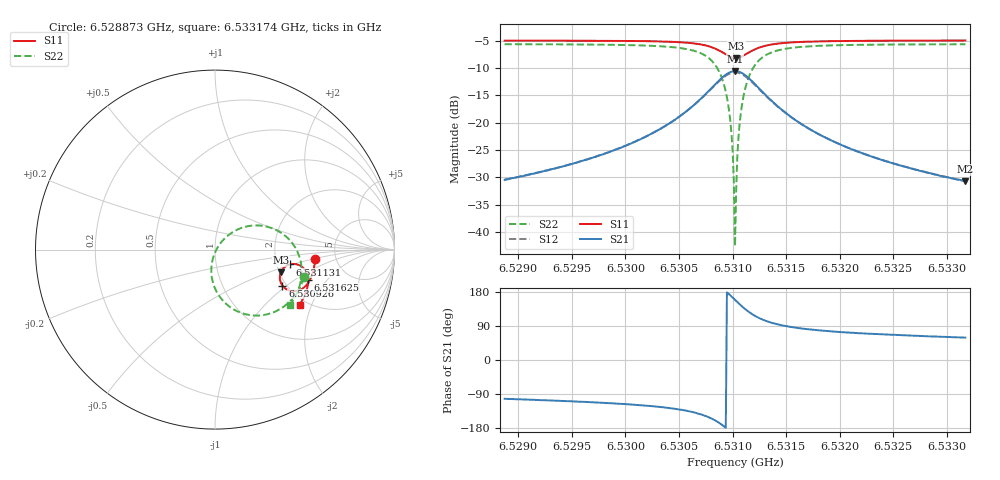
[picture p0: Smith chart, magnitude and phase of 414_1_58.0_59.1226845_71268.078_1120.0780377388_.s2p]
#  HZ  S  RI  R  50.00
! Rohde & Schwarz Vector Network Analyzer
! Rohde-Schwarz,ZNB20-2Port,1311601062101988,3.16
! Created: UTC 3/21/2024, 1:08:51 AM
! freq[Hz]  re:S11  im:S11  re:S21  im:S21  re:S12  im:S12  re:S22  im:S22
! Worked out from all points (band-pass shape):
!   401 points, 6.528873 GHz to 6.533174 GHz, reference 50 ohm
!   highest |S21| = -10.58 dB at 6.531023 GHz (marker M1); lowest = -30.7 dB at 6.533174 GHz (marker M2)
!   |S21| within 3 dB of the highest: 6.53081 GHz to 6.531239 GHz (429.6 kHz wide, 0.00658 % of centre)
!   lowest |S11| = -8.2 dB at 6.531034 GHz (marker M3), VSWR 2.27, Z = 102 - j30.4 ohm
!   |S11| at or under -10 dB: nowhere
!   |S22| runs from -42.6 to -5.7 dB; largest |S21 - S12| = 0.011
!   S11 on the Smith chart (normalised r, x): 6.528873 GHz: 3.47, -0.53; 6.530926 GHz: 1.90, -0.93; 6.531131 GHz: 2.36, -0.48; 6.531625 GHz: 2.71, -1.29; 6.533174 GHz: 1.82, -1.65
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6.5288727e9  0.5587 -0.052  -0.00642 -0.0292  -0.00699 -0.0292  0.4967 -0.1548
6.5295931e9  0.5491 -0.1112  -0.0154 -0.0418  -0.0164 -0.0415  0.4675 -0.221
6.5303136e9  0.5216 -0.1813  -0.0476 -0.0718  -0.0496 -0.0705  0.3893 -0.313
6.5307437e9  0.4531 -0.2311  -0.1513 -0.0976  -0.1535 -0.0916  0.1898 -0.3641
6.5308512e9  0.4098 -0.2267  -0.2185 -0.0727  -0.218 -0.0639  0.0749 -0.3132
6.5309265e9  0.3761 -0.2008  -0.2684 -0.0168  -0.2634 -0.00762  -0.00206 -0.2113
6.5309695e9  0.3635 -0.1742  -0.2843 0.034  -0.2762 0.0417  -0.0205 -0.1239
6.530991e9  0.3612 -0.1586  -0.2853 0.0629  -0.276 0.0693  -0.0174 -0.0761
6.5310018e9  0.3612 -0.1504  -0.2835 0.0777  -0.2738 0.0832  -0.0123 -0.0519
6.5310125e9  0.3623 -0.1424  -0.2803 0.0923  -0.2703 0.0969  -0.00484 -0.0283
6.5310233e9  0.3642 -0.1344  -0.2757 0.1068  -0.2654 0.1104  0.00499 -0.00548
6.531034e9  0.367 -0.1266  -0.2696 0.1207  -0.2595 0.1233  0.017 0.0164
6.5310448e9  0.3705 -0.1192  -0.2623 0.1337  -0.2522 0.1357  0.0314 0.0368
6.5310555e9  0.3747 -0.1122  -0.2536 0.146  -0.244 0.1469  0.0473 0.0556
6.531077e9  0.3852 -0.1001  -0.2337 0.1673  -0.2246 0.1666  0.0836 0.0873
6.5311308e9  0.417 -0.0825  -0.1756 0.1989  -0.1692 0.1961  0.1845 0.1306
6.5311953e9  0.4533 -0.0816  -0.1117 0.2032  -0.108 0.2003  0.2927 0.1269
6.5312921e9  0.4892 -0.0999  -0.049 0.1787  -0.0474 0.177  0.396 0.0728
6.5316254e9  0.5192 -0.1669  0.0106 0.0988  0.0117 0.0986  0.4816 -0.0933
6.5317437e9  0.5188 -0.1839  0.0148 0.0833  0.0158 0.0829  0.483 -0.1283
6.5324642e9  0.4989 -0.2559  0.0171 0.0398  0.0178 0.0396  0.4554 -0.2445
6.5331738e9  0.4715 -0.308  0.0149 0.025  0.0154 0.0247  0.4204 -0.3061
